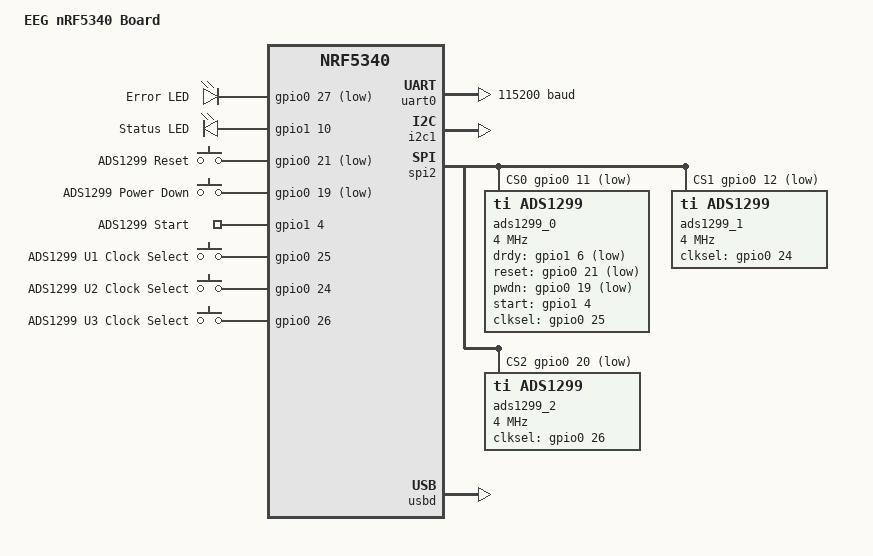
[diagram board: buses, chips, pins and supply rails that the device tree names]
/*
 * Copyright (c) 2024
 * SPDX-License-Identifier: Apache-2.0
 */

/dts-v1/;
#include <nordic/nrf5340_cpuapp_qkaa.dtsi>
#include <zephyr/dt-bindings/gpio/gpio.h>
#include "eeg_nrf5340-pinctrl.dtsi"
#include <vendor/nordic/nrf5340_shared_sram_partition.dtsi>

/ {
	model = "EEG nRF5340 Board";
	compatible = "vendor,eeg-nrf5340";

	chosen {
		zephyr,console = &uart0;
		zephyr,shell-uart = &uart0;
		zephyr,sram = &sram0;
		zephyr,flash = &flash0;
		zephyr,code-partition = &slot0_partition;
		zephyr,cdc-acm-uart = &cdc_acm_uart;
	};

	leds {
		compatible = "gpio-leds";

		err_led: err_led {
			gpios = <&gpio0 27 GPIO_ACTIVE_LOW>;
			label = "Error LED";
		};

		status_led: status_led {
			gpios = <&gpio1 10 GPIO_ACTIVE_HIGH>;
			label = "Status LED";
		};
	};

	ads1299_control {
		compatible = "gpio-keys";

		ads_reset: ads_reset {
			gpios = <&gpio0 21 GPIO_ACTIVE_LOW>;
			label = "ADS1299 Reset";
		};

		ads_pwdn: ads_pwdn {
			gpios = <&gpio0 19 GPIO_ACTIVE_LOW>;
			label = "ADS1299 Power Down";
		};

		ads_start: ads_start {
			gpios = <&gpio1 4 GPIO_ACTIVE_HIGH>;
			label = "ADS1299 Start";
		};

		ads_clksel1: ads_clksel1 {
			gpios = <&gpio0 25 GPIO_ACTIVE_HIGH>;
			label = "ADS1299 U1 Clock Select";
		};

		ads_clksel2: ads_clksel2 {
			gpios = <&gpio0 24 GPIO_ACTIVE_HIGH>;
			label = "ADS1299 U2 Clock Select";
		};

		ads_clksel3: ads_clksel3 {
			gpios = <&gpio0 26 GPIO_ACTIVE_HIGH>;
			label = "ADS1299 U3 Clock Select";
		};
	};

	aliases {
		led0 = &err_led;
		led1 = &status_led;
	};
};

&flash0 {
	partitions {
		compatible = "fixed-partitions";
		#address-cells = <1>;
		#size-cells = <1>;

		boot_partition: partition@0 {
			label = "mcuboot";
			reg = <0x00000000 0x10000>;
		};

		slot0_partition: partition@10000 {
			label = "image-0";
			reg = <0x00010000 0x40000>;
		};

		slot0_ns_partition: partition@50000 {
			label = "image-0-nonsecure";
			reg = <0x00050000 0x30000>;
		};

		slot1_partition: partition@80000 {
			label = "image-1";
			reg = <0x00080000 0x40000>;
		};

		slot1_ns_partition: partition@c0000 {
			label = "image-1-nonsecure";
			reg = <0x000c0000 0x30000>;
		};

		storage_partition: partition@f0000 {
			label = "storage";
			reg = <0x000f0000 0x10000>;
		};
	};
};

&gpiote {
	status = "okay";
};

&gpio0 {
	status = "okay";
};

&gpio1 {
	status = "okay";
};

&uart0 {
	compatible = "nordic,nrf-uarte";
	status = "okay";
	current-speed = <115200>;
	pinctrl-0 = <&uart0_default>;
	pinctrl-1 = <&uart0_sleep>;
	pinctrl-names = "default", "sleep";
};

&i2c1 {
	compatible = "nordic,nrf-twim";
	status = "okay";
	pinctrl-0 = <&i2c1_default>;
	pinctrl-1 = <&i2c1_sleep>;
	pinctrl-names = "default", "sleep";
};

&spi2 {
	compatible = "nordic,nrf-spim";
	status = "okay";
	pinctrl-0 = <&spi2_default>;
	pinctrl-1 = <&spi2_sleep>;
	pinctrl-names = "default", "sleep";

	cs-gpios = <&gpio0 11 GPIO_ACTIVE_LOW>,
		   <&gpio0 12 GPIO_ACTIVE_LOW>,
		   <&gpio0 20 GPIO_ACTIVE_LOW>;

	ads1299_0: ads1299@0 {
		compatible = "ti,ads1299";
		reg = <0>;
		spi-max-frequency = <4000000>;
		drdy-gpios = <&gpio1 6 GPIO_ACTIVE_LOW>;
		reset-gpios = <&gpio0 21 GPIO_ACTIVE_LOW>;
		pwdn-gpios = <&gpio0 19 GPIO_ACTIVE_LOW>;
		start-gpios = <&gpio1 4 GPIO_ACTIVE_HIGH>;
		clksel-gpios = <&gpio0 25 GPIO_ACTIVE_HIGH>;
		num-channels = <8>;
		sample-rate = <250>;
		gain = <24>;
		daisy-chain;
	};

	ads1299_1: ads1299@1 {
		compatible = "ti,ads1299";
		reg = <1>;
		spi-max-frequency = <4000000>;
		clksel-gpios = <&gpio0 24 GPIO_ACTIVE_HIGH>;
		num-channels = <8>;
		sample-rate = <250>;
		gain = <24>;
	};

	ads1299_2: ads1299@2 {
		compatible = "ti,ads1299";
		reg = <2>;
		spi-max-frequency = <4000000>;
		clksel-gpios = <&gpio0 26 GPIO_ACTIVE_HIGH>;
		num-channels = <3>;
		sample-rate = <250>;
		gain = <24>;
	};
};

&usbd {
	compatible = "nordic,nrf-usbd";
	status = "okay";

	cdc_acm_uart: cdc_acm_uart {
		compatible = "zephyr,cdc-acm-uart";
	};
};

